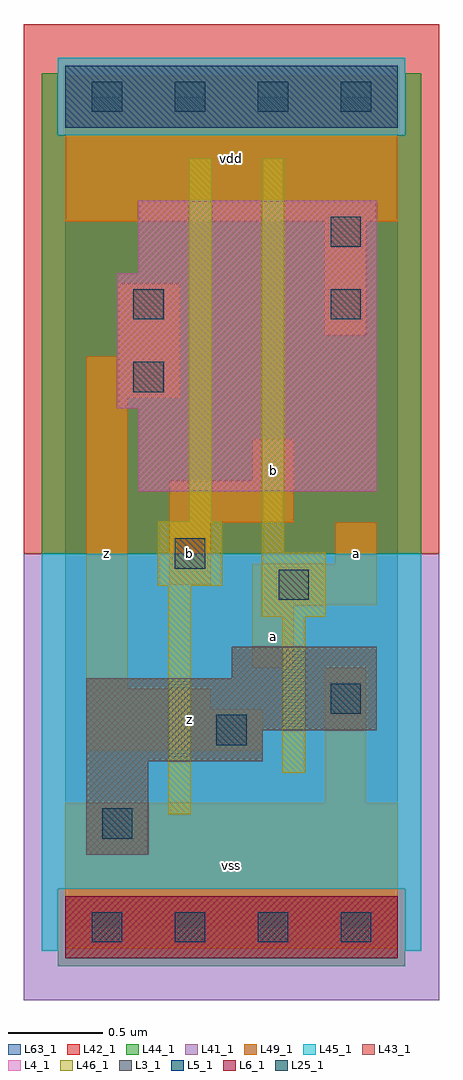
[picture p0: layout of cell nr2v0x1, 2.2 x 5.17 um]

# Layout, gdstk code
import gdstk
lib = gdstk.Library(unit=1e-6, precision=1e-09)
def R(c, l, rs):  # rectangles x0, y0, x1, y1
    for r in rs: c.add(gdstk.rectangle(r[:2], r[2:], *l))
def A(c, l, x, y, w, h, nx, ny, dx, dy):  # array of equal rectangles
    R(c, l, [(x+i*dx, y+j*dy, x+i*dx+w, y+j*dy+h) for i in range(nx) for j in range(ny)])
L3_1 = (3, 1)
L4_1 = (4, 1)
L5_1 = (5, 1)
L6_1 = (6, 1)
L25_1 = (25, 1)
L41_1 = (41, 1)
L42_1 = (42, 1)
L43_1 = (43, 1)
L44_1 = (44, 1)
L45_1 = (45, 1)
L46_1 = (46, 1)
L49_1 = (49, 1)
L63_1 = (63, 1)

nr2v0x1 = lib.new_cell('nr2v0x1')
R(nr2v0x1, L3_1, [(0.11,0.385,0.44,0.88), (0.11,0.88,1.045,1.045), (0.11,1.045,1.65,1.32), (0.88,1.32,1.65,1.485)])
R(nr2v0x1, L4_1, [(0.385,2.31,1.65,2.75), (0.275,2.75,1.65,3.465), (0.385,3.465,1.65,3.85)])
R(nr2v0x1, L5_1, [(0,4.235,1.76,4.565)])
R(nr2v0x1, L6_1, [(0,-0.165,1.76,0.165)])
A(nr2v0x1, L25_1, 0.14, -0.08, 0.16, 0.16, 4, 2, 0.44, 4.4)
R(nr2v0x1, L25_1, [(0.195,0.47,0.355,0.63), (0.8,0.965,0.96,1.125), (1.405,1.13,1.565,1.29), (1.13,1.735,1.29,1.895), (0.58,1.9,0.74,2.06), (0.36,2.835,0.52,2.995), (0.36,3.22,0.52,3.38), (1.405,3.22,1.565,3.38), (1.405,3.605,1.565,3.765)])
R(nr2v0x1, L41_1, [(-0.22,-0.385,1.98,1.98)])
R(nr2v0x1, L42_1, [(-0.22,1.98,1.98,4.785)])
R(nr2v0x1, L43_1, [(0,-0.165,1.76,0.165), (0.11,0.385,0.44,0.88), (0.11,0.88,1.045,1.045), (0.11,1.045,1.65,1.32), (0.88,1.32,1.65,1.485), (0.385,2.31,1.65,2.75), (0.275,2.75,1.65,3.465), (0.385,3.465,1.65,3.85), (0,4.235,1.76,4.565)])
R(nr2v0x1, L44_1, [(-0.04,-0.205,1.8,0.205), (-0.125,1.98,1.885,4.195), (-0.125,4.195,-0.04,4.525), (1.8,4.195,1.885,4.525)])
R(nr2v0x1, L45_1, [(-0.125,-0.125,-0.04,0.205), (1.8,-0.125,1.885,0.205), (-0.125,0.205,1.885,1.98), (-0.04,4.195,1.8,4.605)])
R(nr2v0x1, L46_1, [(0.545,0.6,0.665,1.81), (1.15,0.82,1.27,1.645), (1.04,1.645,1.38,1.985), (0.49,1.81,0.83,2.15), (1.04,1.985,1.16,4.075), (0.655,2.15,0.775,4.075)])
R(nr2v0x1, L49_1, [(0,-0.11,1.76,0.66), (1.375,0.66,1.595,1.375), (0.11,0.935,1.045,1.155), (0.11,1.155,0.77,1.265), (0.11,1.265,0.33,2.805), (0.99,1.375,1.21,1.705), (0.99,1.705,1.65,1.925), (0.55,1.815,0.77,2.145), (1.43,1.925,1.65,2.145), (0.55,2.145,1.21,2.365), (0.99,2.365,1.21,2.585), (0.11,2.805,0.605,3.025), (0.275,3.025,0.605,3.41), (1.375,3.135,1.595,3.74), (0,3.74,1.76,4.51)])
R(nr2v0x1, L63_1, [(0,0,1.76,4.4)])
nr2v0x1.add(gdstk.Label('z', (0.22,1.98), layer=49, texttype=1))
nr2v0x1.add(gdstk.Label('z', (0.66,1.1), layer=49, texttype=1))
nr2v0x1.add(gdstk.Label('b', (0.66,1.98), layer=49, texttype=1))
nr2v0x1.add(gdstk.Label('vss', (0.88,0.33), layer=49, texttype=1))
nr2v0x1.add(gdstk.Label('a', (1.1,1.54), layer=49, texttype=1))
nr2v0x1.add(gdstk.Label('b', (1.1,2.42), layer=49, texttype=1))
nr2v0x1.add(gdstk.Label('vdd', (0.88,4.07), layer=49, texttype=1))
nr2v0x1.add(gdstk.Label('a', (1.54,1.98), layer=49, texttype=1))

lib.write_gds('nr2v0x1.gds')
